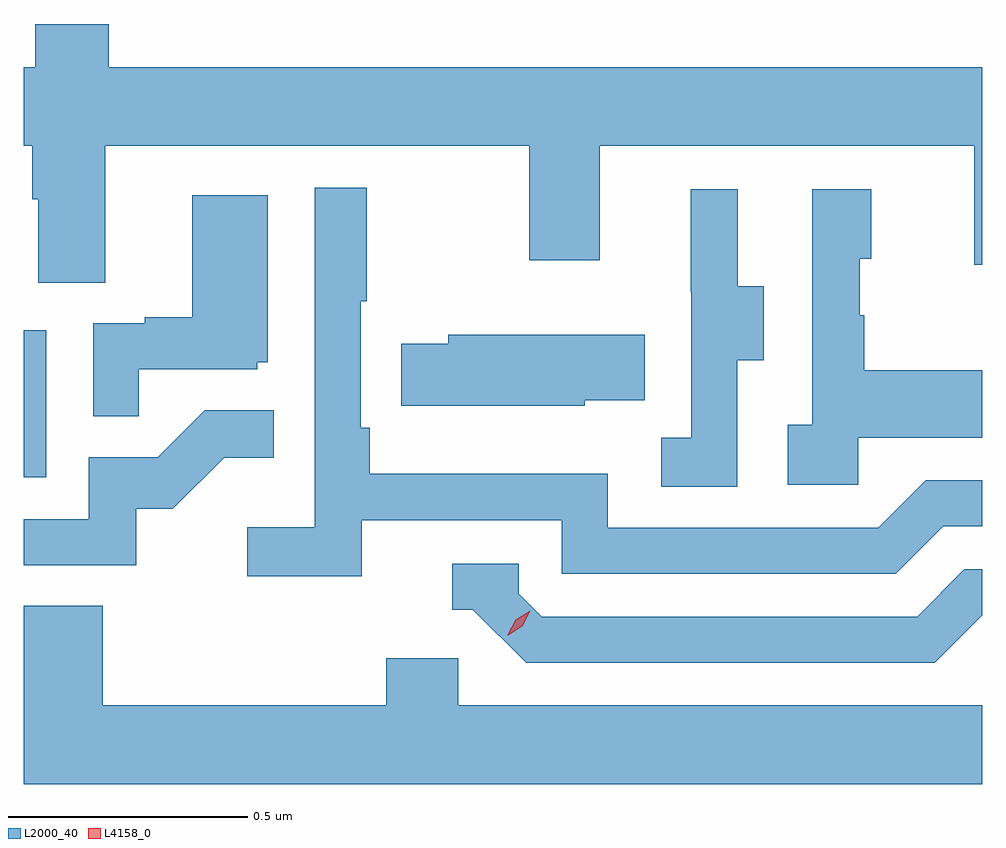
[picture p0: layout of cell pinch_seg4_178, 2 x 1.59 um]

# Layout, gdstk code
import gdstk
lib = gdstk.Library(unit=1e-6, precision=1e-09)
def R(c, l, rs):  # rectangles x0, y0, x1, y1
    for r in rs: c.add(gdstk.rectangle(r[:2], r[2:], *l))
def P(c, l, *ps):  # polygons
    for p in ps: c.add(gdstk.Polygon(p, *l))
L2000_40 = (2000, 40)
L4158_0 = (4158, 0)

pinch_seg4_178 = lib.new_cell('pinch_seg4_178')
R(pinch_seg4_178, L2000_40, [(1108.937,792.132,1108.984,792.439)])
P(pinch_seg4_178, L2000_40, [(1109.114,793.078),(1108.961,793.078),(1108.961,792.988),(1108.937,792.988),(1108.937,792.824),(1108.955,792.824),(1108.955,792.712),(1108.967,792.712),(1108.967,792.538),(1109.107,792.538),(1109.107,792.824),(1109.992,792.824),(1109.992,792.585),(1110.139,792.585),(1110.139,792.824),(1110.92,792.824),(1110.92,792.576),(1110.937,792.576),(1110.937,792.988),(1109.114,792.988)],
  [(1109.642,792.042),(1110.06,792.042),(1110.06,791.931),(1110.757,791.931),(1110.856,792.03),(1110.937,792.03),(1110.937,792.126),(1110.819,792.126),(1110.72,792.027),(1110.156,792.027),(1110.156,792.139),(1109.659,792.139),(1109.659,792.235),(1109.64,792.235),(1109.64,792.499),(1109.653,792.499),(1109.653,792.736),(1109.544,792.736),(1109.544,792.028),(1109.403,792.028),(1109.403,791.926),(1109.642,791.926)],
  [(1110.678,792.215),(1110.937,792.215),(1110.937,792.355),(1110.691,792.355),(1110.691,792.47),(1110.681,792.47),(1110.681,792.588),(1110.706,792.588),(1110.706,792.733),(1110.582,792.733),(1110.582,792.242),(1110.531,792.242),(1110.531,792.117),(1110.678,792.117)],
  [(1110.426,792.376),(1110.481,792.376),(1110.481,792.531),(1110.427,792.531),(1110.427,792.733),(1110.329,792.733),(1110.329,792.519),(1110.33,792.519),(1110.33,792.215),(1110.267,792.215),(1110.267,792.112),(1110.426,792.112)],
  [(1109.177,792.357),(1109.424,792.357),(1109.424,792.372),(1109.446,792.372),(1109.446,792.721),(1109.288,792.721),(1109.288,792.466),(1109.189,792.466),(1109.189,792.453),(1109.082,792.453),(1109.082,792.259),(1109.177,792.259)],
  [(1110.108,792.293),(1110.233,792.293),(1110.233,792.43),(1109.823,792.43),(1109.823,792.411),(1109.725,792.411),(1109.725,792.281),(1110.108,792.281)],
  [(1109.172,792.066),(1109.248,792.066),(1109.355,792.173),(1109.459,792.173),(1109.459,792.272),(1109.315,792.272),(1109.217,792.174),(1109.073,792.174),(1109.073,792.045),(1108.937,792.045),(1108.937,791.949),(1109.172,791.949)],
  [(1110.937,791.844),(1110.937,791.94),(1110.9,791.94),(1110.801,791.841),(1110.018,791.841),(1109.97,791.889),(1109.97,791.952),(1109.831,791.952),(1109.831,791.856),(1109.874,791.856),(1109.985,791.745),(1110.838,791.745)],
  [(1110.937,791.656),(1109.844,791.656),(1109.844,791.754),(1109.693,791.754),(1109.693,791.656),(1109.102,791.656),(1109.102,791.864),(1108.937,791.864),(1108.937,791.492),(1110.937,791.492)])
P(pinch_seg4_178, L4158_0, [(1109.947,791.802),(1109.947,791.803),(1109.964,791.835),(1109.994,791.854),(1109.994,791.854),(1109.994,791.854),(1109.978,791.822),(1109.948,791.802)])

lib.write_gds('pinch_seg4_178.gds')
